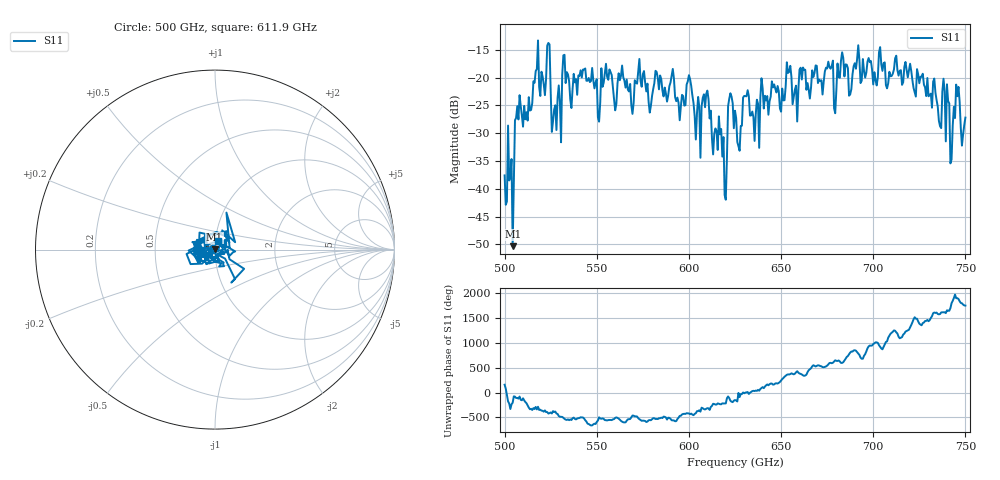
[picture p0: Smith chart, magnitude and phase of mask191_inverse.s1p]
!Created with skrf (http://scikit-rf.org).
# GHz S MA R 50.0
!freq magS11 angS11
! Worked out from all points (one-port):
!   401 points, 500 GHz to 750 GHz, reference 50 ohm
!   lowest |S11| = -50.3 dB at 504.4 GHz (marker M1), VSWR 1.01, Z = 49.7 + j0.131 ohm
!   |S11| at or under -10 dB: start of sweep to end of sweep
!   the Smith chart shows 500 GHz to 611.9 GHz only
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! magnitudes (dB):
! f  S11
! 500 GHz  -37.6
! 504.4 GHz  -50.3
! 506.9 GHz  -25.1
! 513.8 GHz  -25.9
! 516.9 GHz  -18.8
! 523.8 GHz  -13.8
! 526.9 GHz  -25.7
! 531.2 GHz  -19.5
! 562.5 GHz  -20.5
! 579.4 GHz  -25.0
! 590.6 GHz  -19.7
! 593.8 GHz  -23.6
! 600 GHz  -19.6
! 605 GHz  -23.5
! 609.4 GHz  -22.9
! 619.4 GHz  -41.1
! 622.5 GHz  -22.8
! 625 GHz  -26.0
! 656.2 GHz  -24.8
! 683.8 GHz  -16.5
! 687.5 GHz  -23.0
! 691.2 GHz  -16.7
! 718.8 GHz  -20.0
! 735.6 GHz  -27.8
! 738.8 GHz  -22.5
! 743.1 GHz  -28.7
! 745 GHz  -21.3
! 750 GHz  -27.2
